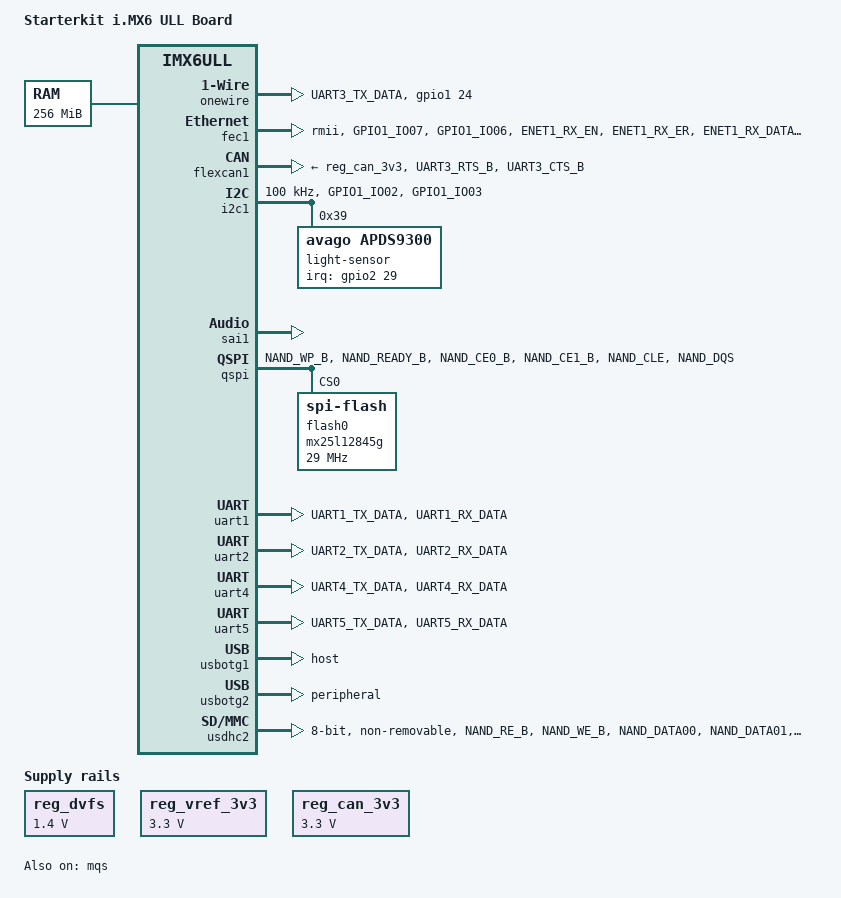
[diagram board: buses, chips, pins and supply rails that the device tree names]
/*
 * Copyright (C) 2020 starterkit.ru
 *
 * This program is free software; you can redistribute it and/or modify
 * it under the terms of the GNU General Public License version 2 as
 * published by the Free Software Foundation.
 */

/dts-v1/;

#include <dt-bindings/input/input.h>
#include "imx6ull.dtsi"

/ {
	model = "Starterkit i.MX6 ULL Board";
	compatible = "fsl,imx6ull-14x14-evk", "fsl,imx6ull";

	chosen {
		stdout-path = &uart1;
	};

	memory {
		reg = <0x80000000 0x10000000>;
	};

	reserved-memory {
		#address-cells = <1>;
		#size-cells = <1>;
		ranges;

		linux,cma {
			compatible = "shared-dma-pool";
			reusable;
			size = <0x14000000>;
			linux,cma-default;
		};
	};

	regulators {
		compatible = "simple-bus";
		#address-cells = <1>;
		#size-cells = <0>;

		reg_dvfs: regulator@1 {
			compatible = "regulator-fixed";
			regulator-name = "DVFS_1V4";
			regulator-min-microvolt = <1400000>;
			regulator-max-microvolt = <1400000>;
		};

		reg_vref_3v3: regulator@2 {
			compatible = "regulator-fixed";
			regulator-name = "vref-3v3";
			regulator-min-microvolt = <3300000>;
			regulator-max-microvolt = <3300000>;
		};
		reg_can_3v3: regulator@3 {
			compatible = "regulator-fixed";
			regulator-name = "can-3v3";
			regulator-min-microvolt = <3300000>;
			regulator-max-microvolt = <3300000>;
		};
	};

	sound-mqs {
		compatible = "fsl,imx6ull-sk-mqs", "fsl,imx-audio-mqs";
		model = "mqs-audio";
		cpu-dai = <&sai1>;
		asrc-controller = <&asrc>;
		audio-codec = <&mqs>;
	};
	
/* 	leds {
		compatible = "gpio-leds";
		pinctrl-names = "default";
		pinctrl-0 = <&pinctrl_leds>;
	led3: link_eth1 {
			label = "link_eth1";
			gpios = <&gpio1 24 GPIO_ACTIVE_LOW>;
			default-state = "on";
			linux,default-trigger = "gpio";
		};
	}; */
	onewire {
		compatible = "w1-gpio";
		pinctrl-names = "default";
		pinctrl-0 = <&w1_gpio_pins>;
		status = "okay";
		gpios = <&gpio1 24 0>;
	};
};

&clks {
	assigned-clocks = <&clks IMX6UL_CLK_PLL4_AUDIO_DIV>;
	assigned-clock-rates = <786432000>;
};

&cpu0 {
	arm-supply = <&reg_arm>;
	soc-supply = <&reg_soc>;
	dc-supply = <&reg_dvfs>;
};

&fec1 {
	pinctrl-names = "default";
	pinctrl-0 = <&pinctrl_enet1>;
	phy-mode = "rmii";
	phy-reset-gpios = <&gpio5 1 0>;
	status = "okay";
};

&flexcan1 {
	pinctrl-names = "default";
	pinctrl-0 = <&pinctrl_flexcan1>;
	xceiver-supply = <&reg_can_3v3>;
	status = "okay";
};
&gpc {
	fsl,cpu_pupscr_sw2iso = <0x1>;
	fsl,cpu_pupscr_sw = <0x0>;
	fsl,cpu_pdnscr_iso2sw = <0x1>;
	fsl,cpu_pdnscr_iso = <0x1>;
	fsl,ldo-bypass = <0>; /* DCDC, ldo-enable */
};

&i2c1 {
	clock-frequency = <100000>;
	pinctrl-names = "default";
	pinctrl-0 = <&pinctrl_i2c1>;
	status = "okay";
	
    light-sensor@39 {
            compatible = "avago,apds9300";
            reg = <0x39>;
            interrupt-parent = <&gpio2>;
            interrupts = <29 8>;
        };
};

/*
         16      HYS     0   CMOS input
                     1   Schmitt trigger input
     15-14   PUS     00  100 kOhm Pull Down
                     01  47 kOhm Pull Up
                     10  100 kOhm Pull Up
                     11  22 kOhm Pull Up
     13      PUE     0   Keeper enable
                     1   Pull enable             Selection between keeper and pull up/down function
     12      PKE     0   Pull/Keeper Disabled
                     1   Pull/Keeper Enabled     Enable keeper or pull up/down function
     11      ODE     0   Output is CMOS
                     1   Output is open drain
     10-8            Reserved
     7-6     SPEED   00  Reserved
                     01  Low (50 MHz)
                     10  Medium (100 MHz)
                     11  High (200 MHz)
     5-3     DSE     000 output driver disabled (Hi Z)
                     001 240 Ohm
                     010 120 Ohm
                     011 80 Ohm
                     100 60 Ohm
                     101 48 Ohm
                     110 40 Ohm
                     111 34 Ohm                  If possible decrease the drive strength by increasing the resistance in order to reduce EMC problems
     2-1 Reserved
     0       SRE     0   Slow Slew Rate
                     1   Fast Slew Rate          Use slow slew rate if possible for reducing EMC problems
     */
 
     // 0x100b1  1 00 0 0 0 000 10 110 00 1
     // 0x130b0  1 00 1 1 0 000 10 110 00 0
     // 0x170c1  1 01 1 1 0 000 11 000 00 1
     // 0x000c1  0 00 0 0 0 000 11 000 00 1
     // 0x100c1  1 00 0 0 0 000 11 000 00 1

&iomuxc {
	pinctrl-names = "default";
	pinctrl-0 = <&pinctrl_hog_1>;
	imx6ul-sk {
		pinctrl_hog_1: hoggrp-1 {
			fsl,pins = <
				/* USB0_PWR */
				MX6UL_PAD_UART2_RTS_B__GPIO1_IO23       0x17059
				/* USB1_PWR */
				MX6UL_PAD_UART2_CTS_B__GPIO1_IO22       0x17059
				/* GSM_PWR */
				MX6UL_PAD_SD1_CMD__GPIO2_IO16           0x17059
				/* GSM_STATUS */
				MX6UL_PAD_SD1_DATA3__GPIO2_IO21         0x17059
				/* GSM_RING */
				MX6UL_PAD_SD1_DATA2__GPIO2_IO20         0x17059
				/* UART3_DE */
				MX6UL_PAD_ENET2_RX_DATA0__GPIO2_IO08    0x17059
				/* UART2_DE */
				MX6UL_PAD_ENET2_RX_DATA1__GPIO2_IO09    0x17059
			>;
		};

		pinctrl_enet1: enet1grp {
			fsl,pins = <
				MX6UL_PAD_GPIO1_IO07__ENET1_MDC	           0x1b0b0
				MX6UL_PAD_GPIO1_IO06__ENET1_MDIO           0x1b0b0
				MX6UL_PAD_ENET1_RX_EN__ENET1_RX_EN         0x1b0b0
				MX6UL_PAD_ENET1_RX_ER__ENET1_RX_ER         0x1b0b0
				MX6UL_PAD_ENET1_RX_DATA0__ENET1_RDATA00    0x1b0b0
				MX6UL_PAD_ENET1_RX_DATA1__ENET1_RDATA01    0x1b0b0
				MX6UL_PAD_ENET1_TX_EN__ENET1_TX_EN         0x1b0b0
				MX6UL_PAD_ENET1_TX_DATA0__ENET1_TDATA00    0x1b0b0
				MX6UL_PAD_ENET1_TX_DATA1__ENET1_TDATA01    0x1b0b0
				MX6UL_PAD_ENET1_TX_CLK__ENET1_REF_CLK1     0x4001b031
			>;
		};

		pinctrl_flexcan1: flexcan1grp {
			fsl,pins = <
				MX6UL_PAD_UART3_RTS_B__FLEXCAN1_RX      0x1b020
				MX6UL_PAD_UART3_CTS_B__FLEXCAN1_TX      0x1b020
			>;
		};
		pinctrl_i2c1: i2c1grp {
			fsl,pins = <
				MX6UL_PAD_GPIO1_IO02__I2C1_SCL    0x4001b8b0
				MX6UL_PAD_GPIO1_IO03__I2C1_SDA    0x4001b8b0
			>;
		};
		
 		w1_gpio_pins: w1grp {
			fsl,pins = <
				MX6UL_PAD_UART3_TX_DATA__GPIO1_IO24    0x1b0b0
			>;
                };
		
		pinctrl_mqs: mqsgrp {
			fsl,pins = <
				MX6UL_PAD_JTAG_TDI__MQS_LEFT    0x11088
			>;
		};


		pinctrl_pwm6: pwm6grp {
			fsl,pins = <
				MX6UL_PAD_JTAG_TDI__PWM6_OUT    0x110b0
			>;
		};
		pinctrl_qspi: qspigrp {
			fsl,pins = <
				MX6UL_PAD_NAND_WP_B__QSPI_A_SCLK         0x70a1
				MX6UL_PAD_NAND_READY_B__QSPI_A_DATA00    0x70a1
				MX6UL_PAD_NAND_CE0_B__QSPI_A_DATA01      0x70a1
				MX6UL_PAD_NAND_CE1_B__QSPI_A_DATA02      0x70a1
				MX6UL_PAD_NAND_CLE__QSPI_A_DATA03        0x70a1
				MX6UL_PAD_NAND_DQS__QSPI_A_SS0_B         0x70a1
			>;
		};

		pinctrl_uart1: uart1grp {
			fsl,pins = <
				MX6UL_PAD_UART1_TX_DATA__UART1_DCE_TX    0x1b0b1
				MX6UL_PAD_UART1_RX_DATA__UART1_DCE_RX    0x1b0b1
			>;
		};

 		pinctrl_uart2: uart2grp {
			fsl,pins = <
				MX6UL_PAD_UART2_TX_DATA__UART2_DCE_TX    0x1b0b1
				MX6UL_PAD_UART2_RX_DATA__UART2_DCE_RX    0x1b0b1
			>;
		}; 

/* 		pinctrl_uart3: uart3grp {
			fsl,pins = <
				MX6UL_PAD_UART3_TX_DATA__UART3_DCE_TX    0x1b0b1
				MX6UL_PAD_UART3_RX_DATA__UART3_DCE_RX    0x1b0b1
			>;
		}; */

		pinctrl_uart4: uart4grp {
			fsl,pins = <
				MX6UL_PAD_UART4_TX_DATA__UART4_DCE_TX    0x1b0b1
				MX6UL_PAD_UART4_RX_DATA__UART4_DCE_RX    0x1b0b1
			>;
		};

		pinctrl_uart5: uart5grp {
			fsl,pins = <
				MX6UL_PAD_UART5_TX_DATA__UART5_DCE_TX    0x1b0b1
				MX6UL_PAD_UART5_RX_DATA__UART5_DCE_RX    0x1b0b1
			>;
		};

		pinctrl_usdhc2_8bit: usdhc2grp_8bit {
			fsl,pins = <
				MX6UL_PAD_NAND_RE_B__USDHC2_CLK        0x10069
				MX6UL_PAD_NAND_WE_B__USDHC2_CMD        0x17059
				MX6UL_PAD_NAND_DATA00__USDHC2_DATA0    0x17059
				MX6UL_PAD_NAND_DATA01__USDHC2_DATA1    0x17059
				MX6UL_PAD_NAND_DATA02__USDHC2_DATA2    0x17059
				MX6UL_PAD_NAND_DATA03__USDHC2_DATA3    0x17059
				MX6UL_PAD_NAND_DATA04__USDHC2_DATA4    0x17059
				MX6UL_PAD_NAND_DATA05__USDHC2_DATA5    0x17059
				MX6UL_PAD_NAND_DATA06__USDHC2_DATA6    0x17059
				MX6UL_PAD_NAND_DATA07__USDHC2_DATA7    0x17059
				MX6UL_PAD_NAND_ALE__USDHC2_RESET_B     0x170b0
			>;
		};
	};
};

&iomuxc_snvs {
	pinctrl-names = "default_snvs";
	pinctrl-0 = <&pinctrl_hog_2>;
	imx6ul-sk {
		pinctrl_hog_2: hoggrp-2 {
			fsl,pins = <
				/* ETH_RES */
				MX6ULL_PAD_SNVS_TAMPER1__GPIO5_IO01    0x80000000
			>;
		};
	};
};

&pwm6 {
	/* compatible = "fsl,imx-snd-pwm"; */
	pinctrl-names = "default";
	pinctrl-0 = <&pinctrl_pwm6>;
	clocks = <&clks IMX6UL_CLK_PWM6>,
		 <&clks IMX6UL_CLK_PWM6>;
	status = "disabled";
};
&sai1 {
	assigned-clocks = <&clks IMX6UL_CLK_SAI1_SEL>,
			<&clks IMX6UL_CLK_SAI1>;
	assigned-clock-parents = <&clks IMX6UL_CLK_PLL4_AUDIO_DIV>;
	assigned-clock-rates = <0>, <24576000>;
	status = "okay";
};

&mqs {
	pinctrl-names = "default";
	pinctrl-0 = <&pinctrl_mqs>;
	clocks = <&clks IMX6UL_CLK_SAI1>;
	clock-names = "mclk";
	status = "okay";
};

&qspi {
	pinctrl-names = "default";
	pinctrl-0 = <&pinctrl_qspi>;
	status = "okay";
	ddrsmp=<0>;

	flash0: mx25l12845g@0 {
		#address-cells = <1>;
		#size-cells = <1>;
		compatible = "spi-flash";
		spi-max-frequency = <29000000>;
		spi-nor,ddr-quad-read-dummy = <6>;
		reg = <0>;
	};
};

&uart1 {
	pinctrl-names = "default";
	pinctrl-0 = <&pinctrl_uart1>;
	status = "okay";
};

 &uart2 {
	pinctrl-names = "default";
	pinctrl-0 = <&pinctrl_uart2>;
	status = "okay";
}; 

/* &uart3 {
	pinctrl-names = "default";
	pinctrl-0 = <&pinctrl_uart3>;
	rts-gpios = <&gpio2 8 GPIO_ACTIVE_HIGH>;
	status = "okay";
}; */

&uart4 {
	pinctrl-names = "default";
	pinctrl-0 = <&pinctrl_uart4>;
	status = "okay";
};

&uart5 {
	pinctrl-names = "default";
	pinctrl-0 = <&pinctrl_uart5>;
	status = "okay";
};

&usbotg1 {
	dr_mode = "host";
	disable-over-current;
	status = "okay";
};

&usbotg2 {
	dr_mode = "peripheral";
	status = "okay";
};

&usbphy1 {
	tx-d-cal = <0x5>;
};

&usbphy2 {
	tx-d-cal = <0x5>;
};

&usdhc2 {
	pinctrl-names = "default";
	pinctrl-0 = <&pinctrl_usdhc2_8bit>;
	bus-width = <8>;
	no-1-8-v;
	non-removable;
	status = "okay";
};
